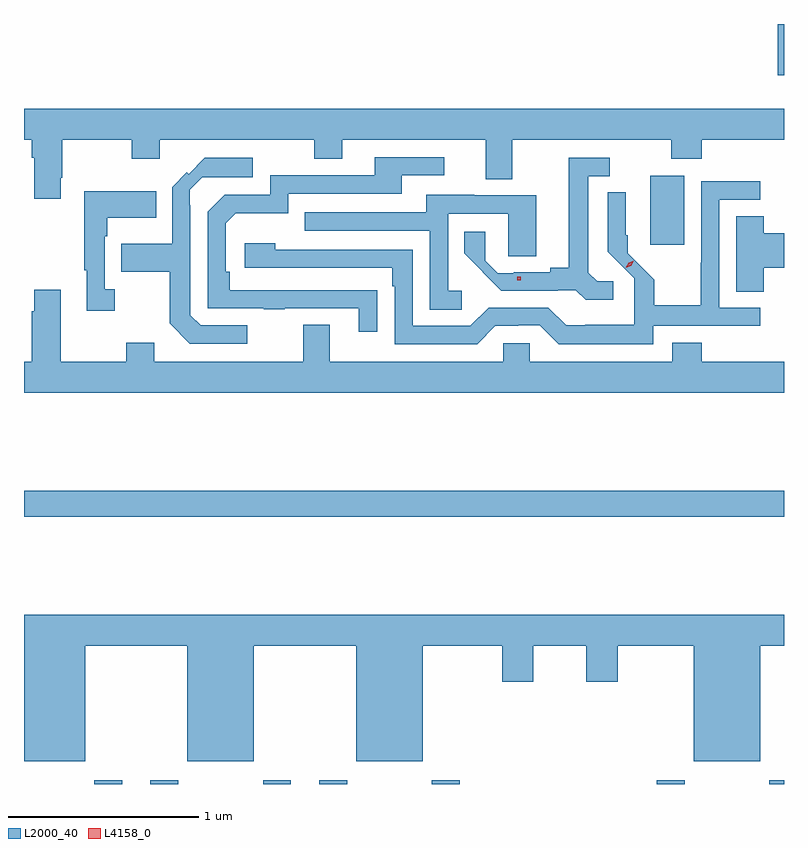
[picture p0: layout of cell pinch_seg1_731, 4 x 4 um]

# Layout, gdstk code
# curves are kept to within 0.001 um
import gdstk
lib = gdstk.Library(unit=1e-6, precision=1e-09)
def R(c, l, rs):  # rectangles x0, y0, x1, y1
    for r in rs: c.add(gdstk.rectangle(r[:2], r[2:], *l))
def A(c, l, x, y, w, h, nx, ny, dx, dy):  # array of equal rectangles
    R(c, l, [(x+i*dx, y+j*dy, x+i*dx+w, y+j*dy+h) for i in range(nx) for j in range(ny)])
def P(c, l, *ps):  # polygons
    for p in ps: c.add(gdstk.Polygon(p, *l))
L2000_40 = (2000, 40)
L4158_0 = (4158, 0)

pinch_seg1_731 = lib.new_cell('pinch_seg1_731')
A(pinch_seg1_731, L2000_40, 638.608, 501.721, 0.147, 0.021, 3, 1, 0.888, 0)
R(pinch_seg1_731, L2000_40, [(638.903,501.721,639.051,501.742), (639.791,501.721,639.939,501.742), (641.567,501.721,641.715,501.742), (642.16,501.721,642.238,501.742), (638.238,503.128,642.238,503.264), (641.534,504.56,641.713,504.922), (642.206,505.452,642.238,505.721)])
P(pinch_seg1_731, L2000_40, [(638.431,504.913),(638.439,504.913),(638.439,505.112),(638.806,505.112),(638.806,505.013),(638.953,505.013),(638.953,505.112),(639.766,505.112),(639.766,505.013),(639.913,505.013),(639.913,505.112),(640.667,505.112),(640.667,504.904),(640.807,504.904),(640.807,505.112),(641.644,505.112),(641.644,505.013),(641.804,505.013),(641.804,505.112),(642.238,505.112),(642.238,505.276),(638.238,505.276),(638.238,505.112),(638.279,505.112),(638.279,505.016),(638.291,505.016),(638.291,504.801),(638.431,504.801)],
  [(640.097,504.32),(639.32,504.321),(639.32,504.418),(639.3,504.418),(639.3,504.672),(639.353,504.725),(639.63,504.725),(639.63,504.828),(640.225,504.828),(640.225,504.924),(640.45,504.924),(640.45,505.02),(640.085,505.02),(640.085,504.924),(639.534,504.924),(639.534,504.822),(639.294,504.822),(639.204,504.732),(639.204,504.225),(639.499,504.225),(639.499,504.22),(639.611,504.22),(639.611,504.225),(640.001,504.225),(640.001,504.102),(640.097,504.102)],
  [(639.412,504.135),(639.168,504.135),(639.114,504.189),(639.114,504.767),(639.111,504.767),(639.111,504.849),(639.177,504.915),(639.442,504.915),(639.442,505.017),(639.19,505.017),(639.104,504.931),(639.095,504.94),(639.018,504.863),(639.018,504.565),(638.749,504.565),(638.749,504.418),(639.006,504.418),(639.006,504.145),(639.111,504.039),(639.412,504.039)],
  [(641.338,504.366),(641.256,504.366),(641.209,504.413),(641.209,504.921),(641.32,504.921),(641.32,505.017),(641.105,505.017),(641.105,504.437),(641.009,504.437),(641.009,504.414),(640.816,504.414),(640.816,504.408),(640.731,504.408),(640.665,504.474),(640.665,504.628),(640.555,504.628),(640.555,504.514),(640.751,504.318),(641.048,504.318),(641.048,504.321),(641.142,504.321),(641.194,504.269),(641.338,504.269)],
  [(641.55,504.132),(642.112,504.132),(642.112,504.228),(641.898,504.228),(641.898,504.795),(642.112,504.795),(642.112,504.894),(641.802,504.894),(641.802,504.464),(641.8,504.464),(641.8,504.241),(641.555,504.241),(641.555,504.375),(641.415,504.515),(641.415,504.61),(641.406,504.61),(641.406,504.836),(641.31,504.836),(641.31,504.522),(641.449,504.384),(641.449,504.139),(641.191,504.139),(641.191,504.135),(641.091,504.135),(640.998,504.228),(640.683,504.228),(640.587,504.132),(640.284,504.132),(640.284,504.534),(639.56,504.534),(639.56,504.568),(639.399,504.568),(639.399,504.438),(640.175,504.438),(640.175,504.341),(640.188,504.341),(640.188,504.036),(640.623,504.036),(640.719,504.132),(640.838,504.132),(640.838,504.135),(640.953,504.135),(641.053,504.035),(641.55,504.035)],
  [(638.716,504.326),(638.664,504.326),(638.664,504.605),(638.677,504.605),(638.677,504.701),(638.933,504.701),(638.933,504.841),(638.556,504.841),(638.556,504.425),(638.567,504.425),(638.567,504.213),(638.716,504.213)],
  [(640.543,504.318),(640.47,504.318),(640.47,504.723),(640.787,504.723),(640.787,504.499),(640.933,504.499),(640.933,504.819),(640.609,504.819),(640.609,504.823),(640.355,504.823),(640.355,504.729),(639.715,504.729),(639.715,504.633),(640.374,504.633),(640.374,504.217),(640.543,504.217)],
  [(642.131,504.437),(642.238,504.437),(642.238,504.62),(642.131,504.62),(642.131,504.71),(641.987,504.71),(641.987,504.313),(642.131,504.313)],
  [(642.238,503.944),(641.804,503.944),(641.804,504.043),(641.651,504.043),(641.651,503.944),(640.899,503.944),(640.899,504.042),(640.761,504.042),(640.761,503.944),(639.847,503.944),(639.847,504.139),(639.707,504.139),(639.707,503.944),(638.923,503.944),(638.923,504.043),(638.776,504.043),(638.776,503.944),(638.431,503.944),(638.431,504.322),(638.291,504.322),(638.291,504.209),(638.279,504.209),(638.279,503.944),(638.238,503.944),(638.238,503.78),(642.238,503.78)],
  [(638.56,502.448),(639.098,502.448),(639.098,501.842),(639.448,501.842),(639.448,502.448),(639.986,502.448),(639.986,501.842),(640.336,501.842),(640.336,502.448),(640.754,502.448),(640.754,502.26),(640.918,502.26),(640.918,502.448),(641.198,502.448),(641.198,502.26),(641.362,502.26),(641.362,502.448),(641.762,502.448),(641.762,501.842),(642.112,501.842),(642.112,502.448),(642.238,502.448),(642.238,502.612),(638.238,502.612),(638.238,501.842),(638.56,501.842)])
R(pinch_seg1_731, L4158_0, [(640.833,504.372,640.853,504.392)])
P(pinch_seg1_731, L4158_0, [(641.406,504.439),(641.406,504.439),(641.42,504.464),(641.447,504.475),(641.448,504.475),(641.448,504.475),(641.433,504.449),(641.406,504.439)])

lib.write_gds('pinch_seg1_731.gds')
